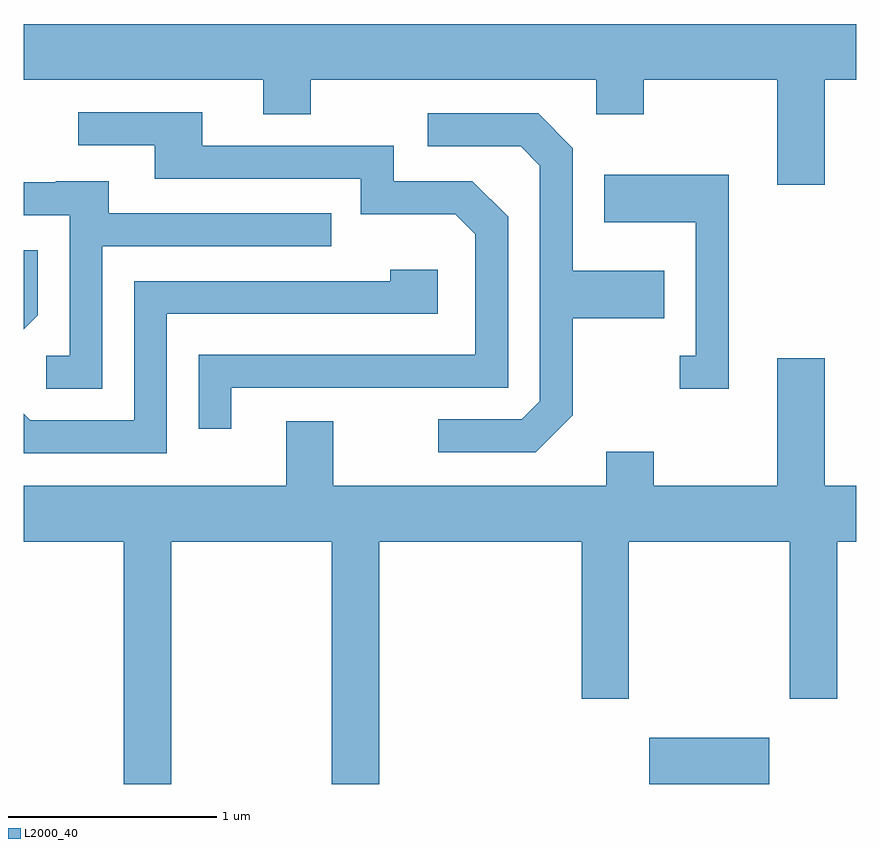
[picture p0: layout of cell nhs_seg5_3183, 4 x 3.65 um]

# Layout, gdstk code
import gdstk
lib = gdstk.Library(unit=1e-6, precision=1e-09)
def R(c, l, rs):  # rectangles x0, y0, x1, y1
    for r in rs: c.add(gdstk.rectangle(r[:2], r[2:], *l))
def P(c, l, *ps):  # polygons
    for p in ps: c.add(gdstk.Polygon(p, *l))
L2000_40 = (2000, 40)

nhs_seg5_3183 = lib.new_cell('nhs_seg5_3183')
R(nhs_seg5_3183, L2000_40, [(282.616,1460.072,283.194,1460.294)])
P(nhs_seg5_3183, L2000_40, [(283.459,1463.456),(283.611,1463.456),(283.611,1463.724),(279.611,1463.724),(279.611,1463.456),(280.761,1463.456),(280.761,1463.291),(280.989,1463.291),(280.989,1463.456),(282.361,1463.456),(282.361,1463.291),(282.589,1463.291),(282.589,1463.456),(283.231,1463.456),(283.231,1462.951),(283.459,1462.951)],
  [(280.609,1461.976),(281.939,1461.976),(281.939,1462.797),(281.767,1462.969),(281.389,1462.969),(281.389,1463.139),(280.469,1463.139),(280.469,1463.299),(279.873,1463.299),(279.873,1463.141),(280.241,1463.141),(280.241,1462.981),(281.231,1462.981),(281.231,1462.811),(281.684,1462.811),(281.781,1462.714),(281.781,1462.134),(280.451,1462.134),(280.451,1461.778),(280.609,1461.778)],
  [(282.249,1461.844),(282.249,1462.311),(282.689,1462.311),(282.689,1462.539),(282.249,1462.539),(282.249,1463.127),(282.082,1463.294),(281.553,1463.294),(281.553,1463.136),(281.999,1463.136),(282.091,1463.044),(282.091,1461.912),(282.004,1461.824),(281.603,1461.824),(281.603,1461.666),(282.072,1461.666)],
  [(282.999,1462.999),(282.401,1462.999),(282.401,1462.771),(282.841,1462.771),(282.841,1462.129),(282.763,1462.129),(282.763,1461.971),(282.999,1461.971)],
  [(279.989,1462.656),(281.088,1462.656),(281.088,1462.814),(280.019,1462.814),(280.019,1462.969),(279.765,1462.969),(279.765,1462.964),(279.611,1462.964),(279.611,1462.806),(279.831,1462.806),(279.831,1462.129),(279.718,1462.129),(279.718,1461.971),(279.989,1461.971)],
  [(279.679,1462.324),(279.679,1462.638),(279.611,1462.638),(279.611,1462.256)],
  [(280.299,1462.331),(281.599,1462.331),(281.599,1462.544),(281.371,1462.544),(281.371,1462.489),(280.141,1462.489),(280.141,1461.819),(279.642,1461.819),(279.611,1461.85),(279.611,1461.661),(280.299,1461.661)],
  [(280.319,1461.236),(281.091,1461.236),(281.091,1460.072),(281.319,1460.072),(281.319,1461.236),(282.291,1461.236),(282.291,1460.481),(282.519,1460.481),(282.519,1461.236),(283.291,1461.236),(283.291,1460.481),(283.519,1460.481),(283.519,1461.236),(283.611,1461.236),(283.611,1461.504),(283.459,1461.504),(283.459,1462.119),(283.231,1462.119),(283.231,1461.504),(282.639,1461.504),(282.639,1461.669),(282.411,1461.669),(282.411,1461.504),(281.099,1461.504),(281.099,1461.814),(280.871,1461.814),(280.871,1461.504),(279.611,1461.504),(279.611,1461.236),(280.091,1461.236),(280.091,1460.072),(280.319,1460.072)])

lib.write_gds('nhs_seg5_3183.gds')
